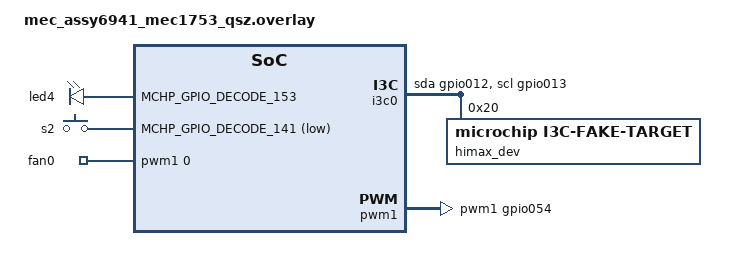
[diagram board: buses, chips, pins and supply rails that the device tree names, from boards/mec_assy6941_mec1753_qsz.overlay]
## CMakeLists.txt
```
# Copyright (c) 2025 Microchip Technology Inc.
# SPDX-License-Identifier: Apache-2.0
 
cmake_minimum_required(VERSION 3.20.0)

# list(APPEND EXTRA_ZEPHYR_MODULES
#   ${CMAKE_CURRENT_SOURCE_DIR}/../../modules
# )

find_package(Zephyr REQUIRED HINTS $ENV{ZEPHYR_BASE})
project(himax_demo)

# FILE(GLOB app_sources src/*.c)
# target_sources(app PRIVATE ${app_sources})

include_directories(app PRIVATE ${CMAKE_CURRENT_SOURCE_DIR})

target_sources(app PRIVATE src/main.c)
# target_sources(app PRIVATE src/blinkly.c)
# target_sources(app PRIVATE src/i3c_host.c)
# target_sources(app PRIVATE src/i3c_target.c)
target_sources(app PRIVATE src/i3c_fake_target.c)

add_subdirectory(driver)
add_subdirectory(service)
```

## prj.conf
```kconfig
# Driver
CONFIG_I3C=y

CONFIG_PWM=y

# Logging
CONFIG_LOG=y
CONFIG_SHELL=y
CONFIG_GPIO_SHELL=y
CONFIG_I3C_SHELL=y
CONFIG_PWM_SHELL=y

# Compiler
# CONFIG_DEBUG_OPTIMIZATIONS=y

# Power Management
# CONFIG_PM=y
```

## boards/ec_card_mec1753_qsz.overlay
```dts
/*
 * Copyright (c) 2023 Microchip Technology Inc.
 *
 * SPDX-License-Identifier: Apache-2.0
 */

#include <zephyr/dt-bindings/pwm/pwm.h>

/ {
    chosen {
        zephyr,shell-uart = &uart1;
    };

    aliases {
        led0 = &led2;
        wk-btn = &s2;
    };

    zephyr,user {
        himax-wk-gpios = <MCHP_GPIO_DECODE_140 GPIO_ACTIVE_HIGH>;
    };

    pwmfans {
        compatible = "pwm-leds";
        fan0: fan0 {
            pwms = <&pwm1 0 PWM_USEC(40) PWM_POLARITY_NORMAL>;
        };
    };

    tst_clk_out: tst_clk_out {
        compatible = "vnd,pinctrl-device";
        pinctrl-0 = <&tst_clk_out_gpio060>;
        pinctrl-names = "default";
        status = "okay";
    };

    soc {
        /delete-node/ i3c@40010800;
        i3c0: i3c@40010800 {
            compatible = "microchip,mchp-i3c";
            #address-cells = <3>;
            #size-cells = <0>;
            reg = <0x40010800 0x300>,
                  <0x40010B00 0x018>;
            interrupts = <181 2>;
            girqs = <MCHP_XEC_ECIA_GIRQ_ENC(13, 8)>;
            pcr-scr = <MCHP_XEC_SCR_ENCODE(4, 25)>;
            input-clock-frequency = < DT_FREQ_M(192) >;
            i3c-scl-hz = <DT_FREQ_K(2000)>;
            i2c-scl-hz = <DT_FREQ_K(400)>;

            // port-sel = <0>;
            // pinctrl-0 = <&i3c00_host_sda_gpio132 &i3c00_host_scl_gpio140>; // TP252
            port-sel = <1>;
            pinctrl-0 = <&i3c01_host_sda_gpio012 &i3c01_host_scl_gpio013>; // TP257
	        pinctrl-names = "default";

            status = "okay";
		};

        /delete-node/ i3c@40010000;
        i3c1: i3c@40010000 {
            compatible = "microchip,mchp-i3c";
            #address-cells = <3>;
            #size-cells = <0>;
            reg = <0x40010000 0x400>,
                  <0x40010400 0x02C>;
            interrupts = <182 2>;
            girqs = <MCHP_XEC_ECIA_GIRQ_ENC(13, 9)>;
            pcr-scr = <MCHP_XEC_SCR_ENCODE(4, 26)>;
            input-clock-frequency = < DT_FREQ_M(192) >;
            i3c-scl-hz = <DT_FREQ_K(2000)>;
            i2c-scl-hz = <DT_FREQ_K(400)>;

            port-sel = <0>;
            pinctrl-0 = <&i3c00_target_sda_gpio132 &i3c00_target_scl_gpio140>; // TP252
            // port-sel = <1>;
            // pinctrl-0 = <&i3c01_target_sda_gpio012 &i3c01_target_scl_gpio013>; // TP257
	        pinctrl-names = "default";

            status = "disabled";
		};
    };
};

&i3c0 {
    himax_dev: himax_dev@20000002c400130000 {
        compatible = "microchip,i3c-fake-target";
        reg = < 0x20 0x02C4 0x00130000 >;
        /* Dynamic Address To Be Assigned To The Device */
        // assigned-address = <0x5C>;
        // supports-setaasa;
        status = "okay";
    };
};

&pwm1 {
    compatible = "microchip,xec-pwm";
    pcr-scr = <MCHP_XEC_SCR_ENCODE(1, 20)>;
    pinctrl-0 = < &pwm1_gpio054 >;
    pinctrl-names = "default";
    status = "okay";
};

&tach0{
	compatible = "microchip,xec-tach";
    girqs = <MCHP_XEC_ECIA_GIRQ_ENC(17, 1)>;
    pcr-scr = <MCHP_XEC_SCR_ENCODE(1, 2)>;
	status = "okay";
	pinctrl-0 = < &ict0_tach0_gpio050 >;
	pinctrl-names = "default";
};

&adc0 {
	compatible = "microchip,xec-adc";
    girqs = <MCHP_XEC_ECIA_GIRQ_ENC(17, 8)>,
            <MCHP_XEC_ECIA_GIRQ_ENC(17, 9)>;
    pcr-scr = <MCHP_XEC_SCR_ENCODE(3, 3)>;
	status = "okay";
    channels = <16>;
    
	pinctrl-0 = < &adc00_gpio200 >;
	pinctrl-names = "default";
};
```

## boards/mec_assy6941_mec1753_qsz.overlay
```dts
/*
 * Copyright (c) 2023 Microchip Technology Inc.
 *
 * SPDX-License-Identifier: Apache-2.0
 */

#include <zephyr/dt-bindings/pwm/pwm.h>

/ {
    chosen {
        zephyr,shell-uart = &uart1;
    };

    aliases {
        led0 = &led4;
        wk-btn = &s2;
    };

    zephyr,user {
        himax-wk-gpios = <MCHP_GPIO_DECODE_140 GPIO_ACTIVE_HIGH>;
    };

    leds {
        compatible = "gpio-leds";
        led4: led_0 {
            gpios = <MCHP_GPIO_DECODE_153 GPIO_ACTIVE_HIGH>;
        };
    };

    btns {
		compatible = "gpio-keys";
		s2: btn_1 {
			gpios = <MCHP_GPIO_DECODE_141 GPIO_ACTIVE_LOW>;
		};
	};

    pwmfans {
        compatible = "pwm-leds";
        fan0: fan0 {
            pwms = <&pwm1 0 PWM_USEC(40) PWM_POLARITY_INVERTED>;
        };
    };

    tst_clk_out: tst_clk_out {
        compatible = "vnd,pinctrl-device";
        pinctrl-0 = <&tst_clk_out_gpio060>;
        pinctrl-names = "default";
        status = "okay";
    };

    soc {
        /delete-node/ i3c@40010800;
        i3c0: i3c@40010800 {
            compatible = "microchip,mchp-i3c";
            #address-cells = <3>;
            #size-cells = <0>;
            reg = <0x40010800 0x300>,
                  <0x40010B00 0x018>;
            interrupts = <181 2>;
            girqs = <MCHP_XEC_ECIA_GIRQ_ENC(13, 8)>;
            pcr-scr = <MCHP_XEC_SCR_ENCODE(4, 25)>;
            input-clock-frequency = < DT_FREQ_M(192) >;
            i3c-scl-hz = <DT_FREQ_K(2000)>;
            i2c-scl-hz = <DT_FREQ_K(400)>;

            // port-sel = <0>;
            // pinctrl-0 = <&i3c00_host_sda_gpio132 &i3c00_host_scl_gpio140>; // TP252
            port-sel = <1>;
            pinctrl-0 = <&i3c01_host_sda_gpio012 &i3c01_host_scl_gpio013>; // TP257
	        pinctrl-names = "default";

            status = "okay";
		};

        /delete-node/ i3c@40010000;
        i3c1: i3c@40010000 {
            compatible = "microchip,mchp-i3c";
            #address-cells = <3>;
            #size-cells = <0>;
            reg = <0x40010000 0x400>,
                  <0x40010400 0x02C>;
            interrupts = <182 2>;
            girqs = <MCHP_XEC_ECIA_GIRQ_ENC(13, 9)>;
            pcr-scr = <MCHP_XEC_SCR_ENCODE(4, 26)>;
            input-clock-frequency = < DT_FREQ_M(192) >;
            i3c-scl-hz = <DT_FREQ_K(2000)>;
            i2c-scl-hz = <DT_FREQ_K(400)>;

            port-sel = <0>;
            pinctrl-0 = <&i3c00_target_sda_gpio132 &i3c00_target_scl_gpio140>; // TP252
            // port-sel = <1>;
            // pinctrl-0 = <&i3c01_target_sda_gpio012 &i3c01_target_scl_gpio013>; // TP257
	        pinctrl-names = "default";

            status = "disabled";
		};
    };

    power-states {
		idle: idle {
			compatible = "zephyr,power-state";
			power-state-name = "suspend-to-idle";
			min-residency-us = <100000>;
		};

		suspend_to_ram: suspend_to_ram {
			compatible = "zephyr,power-state";
			power-state-name = "suspend-to-ram";
			min-residency-us = <200000>;
		};
	};
};

&i3c0 {
    himax_dev: himax_dev@20000002c400130000 {
        compatible = "microchip,i3c-fake-target";
        reg = < 0x20 0x02C4 0x00130000 >;
        /* Dynamic Address To Be Assigned To The Device */
        // assigned-address = <0x5C>;
        // supports-setaasa;
        status = "okay";
    };
};

&pwm1 {
    compatible = "microchip,xec-pwm";
    pcrs = < 0x1 0x14 >;
    pinctrl-0 = < &pwm1_gpio054 >;
    pinctrl-names = "default";
    status = "okay";
};
```

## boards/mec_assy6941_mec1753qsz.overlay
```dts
/*
 * Copyright (c) 2023 Microchip Technology Inc.
 *
 * SPDX-License-Identifier: Apache-2.0
 */

/ {
    chosen {
        zephyr,shell-uart = &uart1;
    };

    aliases {
        led0 = &led4;
    };

    zephyr,user {
        himax-wk-gpios = <MCHP_GPIO_DECODE_140 GPIO_ACTIVE_HIGH>;
    };

    leds {
        compatible = "gpio-leds";
        led4: led_0 {
            gpios = <MCHP_GPIO_DECODE_153 GPIO_ACTIVE_HIGH>;
        };
    };
};


// &dmac {
//     status = "okay";
// };

// Master
&i3c0 {
    pinctrl-0 = <&i3c01_sda_host_gpio012 &i3c01_scl_host_gpio013>; // TP257
	pinctrl-names = "default";
    status = "okay";

    input-clock-frequency = < DT_FREQ_M(96) >;
    i3c-scl-hz = < DT_FREQ_M(2) >;

    himax_dev: himax_dev@20000002c400130000 {
		// compatible = "i3c-device";
        compatible = "microchip,i3c-fake-target";
		reg = < 0x20 0x02C4 0x00130000 >;
		/* Dynamic Address To Be Assigned To The Device */
		// assigned-address = <0x5C>;
		// supports-setaasa;
		status = "okay";
	};
};

// Target
// &i3c1 {
//     pinctrl-0 = < &i3c00_scl_host_gpio140 &i3c00_sda_host_gpio132>; // TP252
//     pinctrl-names = "default";
//     // status = "okay";

//     i3c1-as-tgt-pid = <0xB012 0x3456789A>;
//     i3c1-as-tgt-static-addr= <0x08>;
//     i3c1-as-tgt-mrl = <128>;
//     i3c1-as-tgt-mwl = <128>;
// };
```

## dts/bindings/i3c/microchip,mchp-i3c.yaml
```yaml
# Copyright (C) 2020 Samsung Electronics Co., Ltd.
# Copyright (C) 2023 Meta Platforms
# SPDX-License-Identifier: Apache-2.0

description: >
    This is a binding for the Microchip I3C interface

compatible: "microchip,mchp-i3c"

include: [i3c-controller.yaml]

properties:
  reg:
    required: true

  interrupts:
    required: true

  pinctrl-0:
    type: phandles
    required: true

  pinctrl-names:
    type: string-array
    required: true

  input-clock-frequency:
    type: int
    required: true
    description: The controller input clock frequency
```

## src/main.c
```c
#include <stdio.h>
#include <zephyr/kernel.h>
#include <zephyr/logging/log.h>

LOG_MODULE_REGISTER(main, LOG_LEVEL_INF);


int main(void)
{
    LOG_INF("Hello: %s", CONFIG_BOARD_TARGET);

	return 0;
}
```

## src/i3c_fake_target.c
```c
/* Introspect driver to test I3C
 *
 * Copyright (c) 2024 Microchip Technologies Inc.
 *
 * SPDX-License-Identifier: Apache-2.0
 *
 */

#define DT_DRV_COMPAT microchip_i3c_fake_target

#define CONFIG_I3C_FAKE_TARGET_INIT_PRIORITY 90

#include <zephyr/drivers/i3c.h>

struct i3c_fake_target_driver_api {
};

static const struct i3c_fake_target_driver_api i3c_fake_target_api = {};

#define I3C_MCHP_FAKE_TARGET(inst)                                                                 \
	DEVICE_DT_INST_DEFINE(inst, NULL, NULL, NULL, NULL, POST_KERNEL,                           \
			      CONFIG_I3C_FAKE_TARGET_INIT_PRIORITY, &i3c_fake_target_api);

DT_INST_FOREACH_STATUS_OKAY(I3C_MCHP_FAKE_TARGET)
```

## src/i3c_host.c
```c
#include <stdio.h>
#include <zephyr/device.h>
#include <zephyr/drivers/i3c.h>
#include <zephyr/kernel.h>
#include <zephyr/logging/log.h>
#include <zephyr/sys/util.h>
#include <zephyr/sys/util_macro.h>


LOG_MODULE_REGISTER(i3c_host, LOG_LEVEL_INF);

#if DT_NODE_HAS_STATUS(DT_NODELABEL(i3c0), okay)
const struct device *const host_dev = DEVICE_DT_GET(DT_NODELABEL(i3c0));
#else
#error "Node is disabled"
#endif

#define HIMAX_DELAY 50

#define HIMAX_WRITE_ADDR 0x01
#define HIMAX_READ_ADDR 0x00

static int himax_write(struct i3c_device_desc *target, uint8_t *data,
                       uint32_t len, bool pec_en, bool hdr_en) {
    int ret = 0;
    uint8_t addr = HIMAX_WRITE_ADDR;

    if ((target == NULL) || (data == NULL) || (len <= 0)) {
        LOG_ERR("Invalid inputs!!");
        goto exit_himax_write;
    }

    if (target->dynamic_addr == 0) {
        LOG_ERR("Invalid Target!!");
        goto exit_himax_write;
    }

    struct i3c_msg msg[2];

    msg[0].buf = &addr;
    msg[0].len = 1;
    msg[0].flags = I3C_MSG_WRITE;
#ifdef USE_MCHP_H3_CHANGES
    if (true == pec_en) {
        msg[0].flags |= I3C_MSG_PEC;
    }
    if (true == hdr_en) {
        msg[0].flags |= I3C_MSG_HDR;
    }
#endif

    msg[1].buf = (uint8_t *)data;
    msg[1].len = len;
    msg[1].flags = I3C_MSG_RESTART | I3C_MSG_WRITE | I3C_MSG_STOP;
#ifdef USE_MCHP_H3_CHANGES
    if (true == pec_en) {
        msg[1].flags |= I3C_MSG_PEC;
    }
    if (true == hdr_en) {
        msg[1].flags |= I3C_MSG_HDR;
    }
#endif

    ret = i3c_transfer(target, msg, 2);

exit_himax_write:
    return ret;
}

static int himax_read(struct i3c_device_desc *target, uint8_t *data,
                      uint32_t len, bool pec_en, bool hdr_en) {
    int ret = 0;
    uint8_t addr = HIMAX_READ_ADDR;

    if ((target == NULL) || (data == NULL) || (len <= 0)) {
        LOG_ERR("Invalid inputs!!");
        goto exit_himax_write;
    }

    if (target->dynamic_addr == 0) {
        LOG_ERR("Invalid Target!!");
        goto exit_himax_write;
    }

    struct i3c_msg msg[2];

    msg[0].buf = &addr;
    msg[0].len = 1;
    msg[0].flags = I3C_MSG_WRITE;
#ifdef USE_MCHP_H3_CHANGES
    if (true == pec_en) {
        msg[0].flags |= I3C_MSG_PEC;
    }
    if (true == hdr_en) {
        msg[0].flags |= I3C_MSG_HDR;
    }
#endif
    msg[1].buf = (uint8_t *)data;
    msg[1].len = len;
    msg[1].flags = I3C_MSG_RESTART | I3C_MSG_READ | I3C_MSG_STOP;
#ifdef USE_MCHP_H3_CHANGES
    if (true == pec_en) {
        msg[1].flags |= I3C_MSG_PEC;
    }
    if (true == hdr_en) {
        msg[1].flags |= I3C_MSG_HDR;
    }
#endif

    ret = i3c_transfer(target, msg, 2);

exit_himax_write:
    return ret;
}

static int himax_get_test(struct i3c_device_desc *target) {
    bool pec_en = false;
    bool hdr_en = false;
    int ret = 0;

    uint8_t tx_data[] = {0x04, 0x02, 0x05, 0x05, 0x01, 0x00, 0x01, 0x04, 0x00};
    ret = himax_write(target, tx_data, sizeof(tx_data), pec_en, hdr_en);
    if (ret)
        LOG_ERR("himax_write error: %d", ret);

    k_sleep(K_MSEC(HIMAX_DELAY));

    uint8_t rx_data[13] = {0};
    ret = himax_read(target, rx_data, sizeof(rx_data), pec_en, hdr_en);
    if (ret)
        LOG_ERR("himax_read error: %d", ret);

    return 0;
}

static int himax_get_version(struct i3c_device_desc *target) {
    bool pec_en = false;
    bool hdr_en = false;
    int ret = 0;

    uint8_t tx_data[] = {0x01, 0x01, 0x05, 0x00};
    ret = himax_write(target, tx_data, sizeof(tx_data), pec_en, hdr_en);
    if (ret)
        LOG_ERR("himax_write error: %d", ret);

    k_sleep(K_MSEC(HIMAX_DELAY));

    uint8_t rx_data[10] = {0};
    ret = himax_read(target, rx_data, sizeof(rx_data), pec_en, hdr_en);
    if (ret)
        LOG_ERR("himax_read error: %d", ret);

    LOG_INF("Himax readback: %02x %02x %02x %02x %02x %02x %02x %02x %02x %02x",
            rx_data[0], rx_data[1], rx_data[2], rx_data[3], rx_data[4],
            rx_data[5], rx_data[6], rx_data[7], rx_data[8], rx_data[9]);

    return 0;
}

static void i3c_test(void) {
    int ret = 0;

    k_sleep(K_SECONDS(2));

    if (!device_is_ready(host_dev)) {
        /*if device is not ready, try initializing it*/
        ret = device_init(host_dev);
        if (0 != ret) {
            LOG_ERR("Host[%s] init failed with error %d", host_dev->name, ret);
        } else {
            LOG_INF("Host[%s] init success", host_dev->name);
        }
    } else {
        LOG_INF("Host[%s] ready", host_dev->name);
    }

    const struct i3c_device_id devid = I3C_DEVICE_ID_DT(DT_NODELABEL(himax_dev));// {.pid = 0x02c400130000};
    struct i3c_device_desc *target = NULL;
    target = i3c_device_find(host_dev, &devid);
    LOG_INF("Target found: %p", target);

    if (target != NULL) {
        himax_get_test(target);

        k_sleep(K_MSEC(HIMAX_DELAY));

        himax_get_version(target);
    }
}

#define STACKSIZE 4096
#define PRIORITY 7

K_THREAD_DEFINE(i3c_test_id, STACKSIZE, i3c_test, NULL, NULL, NULL, PRIORITY, 0,
                0);
```

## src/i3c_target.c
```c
/*
 * Copyright (c) 2017 Linaro Limited
 * Copyright (c) 2019 Nordic Semiconductor ASA
 *
 * SPDX-License-Identifier: Apache-2.0
 */

#include <zephyr/kernel.h>
#include <zephyr/device.h>
#include <stdio.h>
#include <zephyr/sys/util.h>
#include "zephyr/drivers/i3c.h"
#include <zephyr/logging/log.h>

LOG_MODULE_REGISTER(i3c_target, LOG_LEVEL_INF);


static int tgt0_write_requested_cb(struct i3c_target_config *config);
static int tgt0_write_received_cb(struct i3c_target_config *config, uint8_t val);
static int tgt0_read_requested_cb(struct i3c_target_config *config, uint8_t *val);
static int tgt0_read_processed_cb(struct i3c_target_config *config, uint8_t *val);
static int tgt0_stop_cb(struct i3c_target_config *config);

struct i3c_target_callbacks tgt0_cbs= {
    .write_requested_cb   = tgt0_write_requested_cb,
    .write_received_cb    = tgt0_write_received_cb,
    .read_requested_cb    = tgt0_read_requested_cb,
    .read_processed_cb    = tgt0_read_processed_cb,
    .stop_cb              = tgt0_stop_cb,
};

struct i3c_target_config tgt0_cfg;
uint8_t tgt_tx_buff[88] = {
                           0x1,  0x2,  0x3,  0x4,  0x5,  0x6,  0x7,  0x8,
                           0x9,  0xa,  0xb,  0xc,  0xd,  0xe,  0xf,  0x10,
                           0x11, 0x12, 0x13, 0x14, 0x15, 0x16, 0x17, 0x18,
                           0x19, 0x1a, 0x1b, 0x1c, 0x1d, 0x1e, 0x1f, 0x20,
                           0x21, 0x22, 0x23, 0x24, 0x25, 0x26, 0x27, 0x28,
                           0x29, 0x2a, 0x2b, 0x2c, 0x2d, 0x2e, 0x2f, 0x30,
                           0x31, 0x32, 0x33, 0x34, 0x35, 0x36, 0x37, 0x38,
                           0x39, 0x3a, 0x3b, 0x3c, 0x3d, 0x3e, 0x3f, 0x40,
                           0xa1, 0xa2, 0xa3, 0xa4, 0xa5, 0xa6, 0xa7, 0xa8,
                           0xb1, 0xb2, 0xb3, 0xb4, 0xb5, 0xb6, 0xb7, 0xb8,
                           0xc1, 0xc2, 0xc3, 0xc4, 0xc5, 0xc6, 0xc7, 0xc8};

static int tgt0_write_requested_cb(struct i3c_target_config *config)
{
    printf("[%s]\n", __FUNCTION__);
    return 0;
}

static int tgt0_write_received_cb(struct i3c_target_config *config, uint8_t val)
{
    printf("[%s] Data => 0x%02x\n", __FUNCTION__, val);
    return 0;
}

static int tgt0_read_requested_cb(struct i3c_target_config *config, uint8_t *val)
{
    printf("[%s]\n", __FUNCTION__);
    return 0;
}

static int tgt0_read_processed_cb(struct i3c_target_config *config, uint8_t *val)
{
    printf("[%s]\n", __FUNCTION__);
    return 0;
}

static int tgt0_stop_cb(struct i3c_target_config *config)
{
    printf("[%s]\n", __FUNCTION__);
    return 0;
}


static int i3c_target(void)
{
    int ret = 0;
    const struct device *const target_dev = DEVICE_DT_GET(DT_NODELABEL(i3c1));

    if (!device_is_ready(target_dev)) {
		/*if device is not ready, try initializing it*/
		ret = device_init(target_dev);
		if (0 != ret) {
			LOG_ERR("Target[%s] init failed with error %d", target_dev->name, ret);
		} else {
			LOG_INF("Target[%s] init success", target_dev->name);
		}
	} else {
		LOG_INF("Target[%s] ready", target_dev->name);
	}

    tgt0_cfg.callbacks = &tgt0_cbs;
	ret = i3c_target_register(target_dev, &tgt0_cfg);
	if (ret) {
		LOG_ERR("Target[%s] register failed", target_dev->name);
	} else {
		LOG_INF("Target[%s] register success", target_dev->name);
	}

    return 0;
}

#define STACKSIZE 4096
#define PRIORITY 7

K_THREAD_DEFINE(i3c_target_id, STACKSIZE, i3c_target, NULL, NULL, NULL,
		PRIORITY, 0, 0);
```
